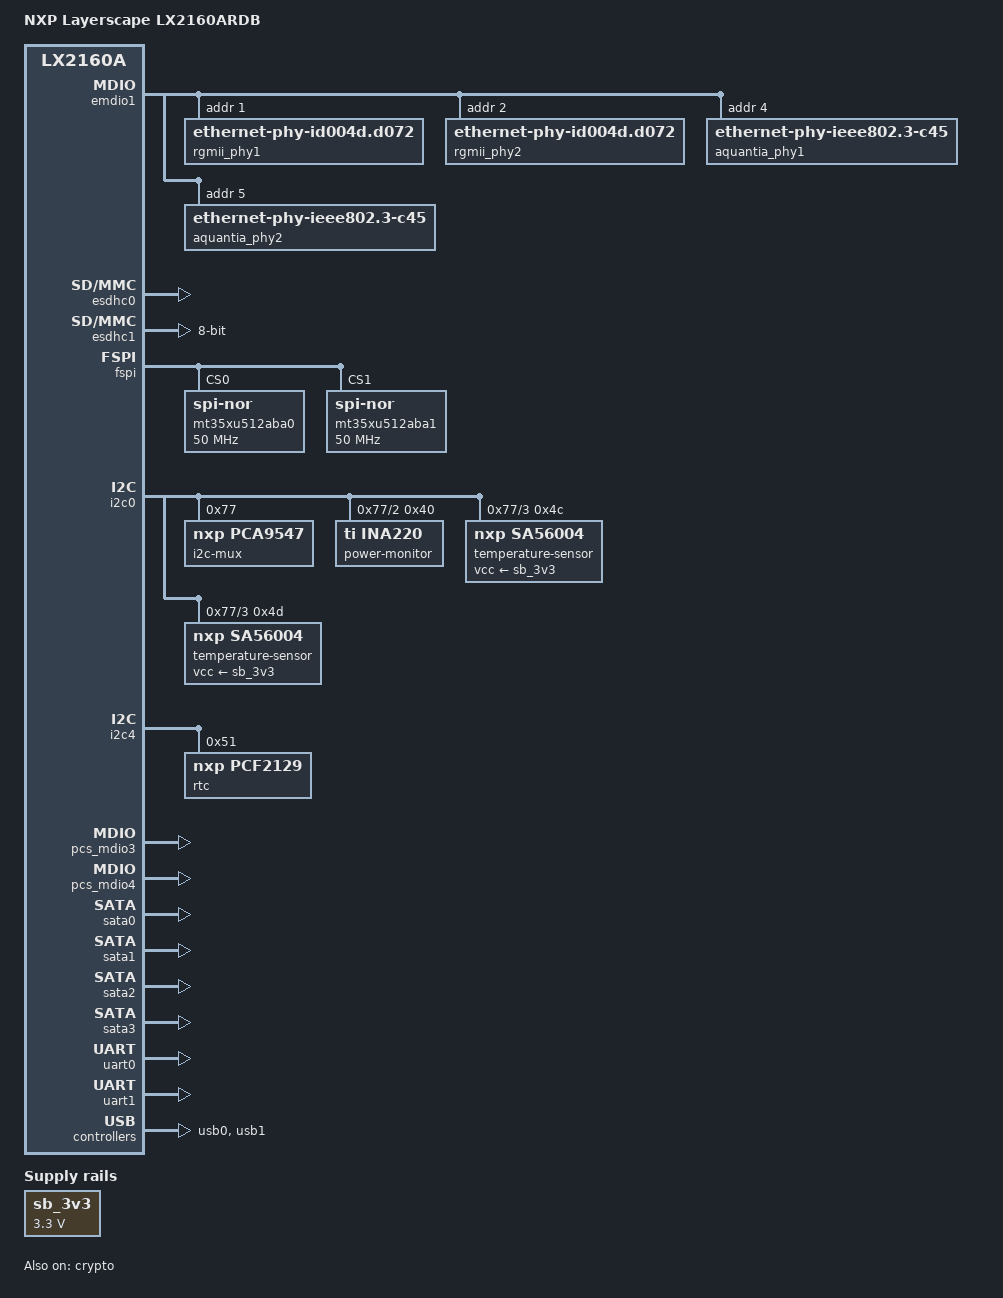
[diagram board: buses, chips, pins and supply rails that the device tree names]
// SPDX-License-Identifier: (GPL-2.0 OR MIT)
//
// Device Tree file for LX2160ARDB
//
// Copyright 2018 NXP

/dts-v1/;

#include "fsl-lx2160a.dtsi"

/ {
	model = "NXP Layerscape LX2160ARDB";
	compatible = "fsl,lx2160a-rdb", "fsl,lx2160a";

	aliases {
		crypto = &crypto;
		serial0 = &uart0;
	};

	chosen {
		stdout-path = "serial0:115200n8";
	};

	sb_3v3: regulator-sb3v3 {
		compatible = "regulator-fixed";
		regulator-name = "MC34717-3.3VSB";
		regulator-min-microvolt = <3300000>;
		regulator-max-microvolt = <3300000>;
		regulator-boot-on;
		regulator-always-on;
	};
};

&crypto {
	status = "okay";
};

&dpmac3 {
	phy-handle = <&aquantia_phy1>;
	phy-connection-type = "usxgmii";
	managed = "in-band-status";
};

&dpmac4 {
	phy-handle = <&aquantia_phy2>;
	phy-connection-type = "usxgmii";
	managed = "in-band-status";
};

&dpmac17 {
	phy-handle = <&rgmii_phy1>;
	phy-connection-type = "rgmii-id";
};

&dpmac18 {
	phy-handle = <&rgmii_phy2>;
	phy-connection-type = "rgmii-id";
};

&emdio1 {
	status = "okay";

	rgmii_phy1: ethernet-phy@1 {
		/* AR8035 PHY */
		compatible = "ethernet-phy-id004d.d072";
		reg = <0x1>;
		eee-broken-1000t;
	};

	rgmii_phy2: ethernet-phy@2 {
		/* AR8035 PHY */
		compatible = "ethernet-phy-id004d.d072";
		reg = <0x2>;
		eee-broken-1000t;
	};

	aquantia_phy1: ethernet-phy@4 {
		/* AQR107 PHY */
		compatible = "ethernet-phy-ieee802.3-c45";
		reg = <0x4>;
	};

	aquantia_phy2: ethernet-phy@5 {
		/* AQR107 PHY */
		compatible = "ethernet-phy-ieee802.3-c45";
		reg = <0x5>;
	};
};

&esdhc0 {
	sd-uhs-sdr104;
	sd-uhs-sdr50;
	sd-uhs-sdr25;
	sd-uhs-sdr12;
	status = "okay";
};

&esdhc1 {
	mmc-hs200-1_8v;
	mmc-hs400-1_8v;
	bus-width = <8>;
	status = "okay";
};

&fspi {
	status = "okay";

	mt35xu512aba0: flash@0 {
		#address-cells = <1>;
		#size-cells = <1>;
		compatible = "jedec,spi-nor";
		m25p,fast-read;
		spi-max-frequency = <50000000>;
		reg = <0>;
		spi-rx-bus-width = <8>;
		spi-tx-bus-width = <8>;
	};

	mt35xu512aba1: flash@1 {
		#address-cells = <1>;
		#size-cells = <1>;
		compatible = "jedec,spi-nor";
		m25p,fast-read;
		spi-max-frequency = <50000000>;
		reg = <1>;
		spi-rx-bus-width = <8>;
		spi-tx-bus-width = <8>;
	};
};

&i2c0 {
	status = "okay";

	i2c-mux@77 {
		compatible = "nxp,pca9547";
		reg = <0x77>;
		#address-cells = <1>;
		#size-cells = <0>;

		i2c@2 {
			#address-cells = <1>;
			#size-cells = <0>;
			reg = <0x2>;

			power-monitor@40 {
				compatible = "ti,ina220";
				reg = <0x40>;
				shunt-resistor = <500>;
			};
		};

		i2c@3 {
			#address-cells = <1>;
			#size-cells = <0>;
			reg = <0x3>;

			temperature-sensor@4c {
				compatible = "nxp,sa56004";
				reg = <0x4c>;
				vcc-supply = <&sb_3v3>;
			};

			temperature-sensor@4d {
				compatible = "nxp,sa56004";
				reg = <0x4d>;
				vcc-supply = <&sb_3v3>;
			};
		};
	};
};

&i2c4 {
	status = "okay";

	rtc@51 {
		compatible = "nxp,pcf2129";
		reg = <0x51>;
		// IRQ10_B
		interrupts = <0 150 0x4>;
	};
};

&pcs_mdio3 {
	status = "okay";
};

&pcs_mdio4 {
	status = "okay";
};

&sata0 {
	status = "okay";
};

&sata1 {
	status = "okay";
};

&sata2 {
	status = "okay";
};

&sata3 {
	status = "okay";
};

&uart0 {
	status = "okay";
};

&uart1 {
	status = "okay";
};

&usb0 {
	status = "okay";
};

&usb1 {
	status = "okay";
};
